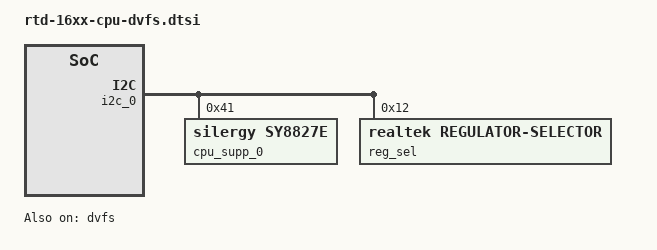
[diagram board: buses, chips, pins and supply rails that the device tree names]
/*
 * RTD-16XX Generic CPU DVFS
 */
#include <dt-bindings/regulator/gmt,g22xx.h>
#include <dt-bindings/regulator/anpec,apw8889.h>
#include <dt-bindings/thermal/thermal.h>

/*
 * Frequnecy overview
 *
 *    CDEV                             CDEV  CDEV  CDEV
 *      ST  FREQUENCY  BOOST  SUSPEND  MAP0  MAP1  MAP2
 *       0       1400    V                          |
 *       1       1300                  -+-         -+-
 *       2       1200            V      |
 *       3       1100                   |
 *       4       1000                   |
 *       5        900                   |
 *       6        800                  -+-
 *       7        700                        -+-
 *       8        600                         |
 *       9        500                         |
 *      10        400                         |
 *      11        300                         |
 */

/* PMIC */
&i2c_0 {
	status = "okay";

	cpu_supp_0: sy8827e: sy8827e@41 {
		compatible = "silergy,sy8827e";
		reg = <0x41>;
		regulator-name = "cpudvs";
		regulator-min-microvolt = <712500>;
		regulator-max-microvolt = <1500000>;
		regulator-ramp-delay = <2000>;
		regulator-boot-on;
		regulator-always-on;
		status = "okay";
	};

	reg_sel: selector@12 {
		compatible = "realtek,regulator-selector";
		reg = <0x12>;
		status = "okay";
		cpu_supp: cpu-selector {
			compatible = "supply-selector";
			g2237-supply = <&cpu_supp_0>;
			apw8889-supply = <&cpu_supp_1>;
		};
		gpu_supp: gpu-selector {
			compatible = "supply-selector";
			g2237-supply = <&gpu_supp_0>;
			apw8889-supply = <&gpu_supp_1>;
		};
	};

	g2237: g2237@12 {
		compatible = "gmt,g2237";
		reg = <0x12>;

		/*** should be disabled ***/
		status = "disabled";

		vd33_supp: dc1 {
			regulator-name = "vd33";
			regulator-min-microvolt = <2200000>;
			regulator-max-microvolt = <3700000>;

			regulator-boot-on;
			regulator-always-on;
			regulator-initial-mode = <G22XX_DC_MODE_AUTO>;
			regulator-state-mem {
				regulator-on-in-suspend;
				regulator-suspend-microvolt = <3200000>;
			};
		};
		gpu_supp_0: dc2 {
			regulator-name = "gpudvs";
			regulator-min-microvolt = <800000>;
			regulator-max-microvolt = <1187500>;

			regulator-boot-on;
			regulator-always-on;
			regulator-initial-mode = <G22XX_DC_MODE_AUTO>;
			regulator-ramp-delay = <625>;
			regulator-state-mem {
				regulator-off-in-suspend;
			};
		};
		dc3 {
			regulator-name = "core";
			regulator-min-microvolt = <800000>;
			regulator-max-microvolt = <1187500>;

			regulator-boot-on;
			regulator-always-on;
			regulator-initial-mode = <G22XX_DC_MODE_AUTO>;
			regulator-state-mem {
				regulator-on-in-suspend;
				regulator-suspend-microvolt = <900000>;
			};
		};
		ddr_supp: dc4 {
			regulator-name = "ddr";
			regulator-min-microvolt = <1200000>;
			regulator-max-microvolt = <1200000>;
			regulator-boot-on;
			regulator-always-on;
			regulator-initial-mode = <G22XX_DC_MODE_AUTO>;

		};
		dc5 {
			regulator-name = "vd18";
			regulator-min-microvolt = <800000>;
			regulator-max-microvolt = <2500000>;

			regulator-boot-on;
			regulator-always-on;
			regulator-initial-mode = <G22XX_DC_MODE_AUTO>;
		};
		ldo1 {
			regulator-name = "vd25";
			regulator-min-microvolt = <2200000>;
			regulator-max-microvolt = <3000000>;

			regulator-boot-on;
			regulator-always-on;
			regulator-initial-mode = <G22XX_LDO_MODE_NORMAL>;
		};
	};

	apw8889: apw8889@12 {
		compatible = "anpec,apw8889";
		reg = <0x12>;

		/*** should be disabled ***/
		status = "disabled";

		dc1 {
			regulator-name = "vd33";
			regulator-min-microvolt = <2200000>;
			regulator-max-microvolt = <3777500>;

			regulator-boot-on;
			regulator-always-on;
			regulator-initial-mode = <APW8889_DC_MODE_AUTO>;
			regulator-state-mem {
				regulator-on-in-suspend;
				regulator-suspend-microvolt = <3200000>;
			};
		};
		dc2 {
			regulator-name = "core";
			regulator-min-microvolt = <550000>;
			regulator-max-microvolt = <1337500>;

			regulator-boot-on;
			regulator-always-on;
			regulator-initial-mode = <APW8889_DC_MODE_AUTO>;
			regulator-state-mem {
				regulator-on-in-suspend;
				regulator-suspend-microvolt = <900000>;
			};
		};
		cpu_supp_1: dc3 {
			regulator-name = "cpudvs";
			regulator-min-microvolt = <550000>;
			regulator-max-microvolt = <1337500>;

			regulator-boot-on;
			regulator-always-on;
			regulator-initial-mode = <APW8889_DC_MODE_AUTO>;
			regulator-ramp-delay = <625>;
			regulator-state-mem {
				regulator-off-in-suspend;
			};
		};
		gpu_supp_1: dc4 {
			regulator-name = "gpudvs";
			regulator-min-microvolt = <550000>;
			regulator-max-microvolt = <1337500>;

			regulator-boot-on;
			regulator-always-on;
			regulator-initial-mode = <APW8889_DC_MODE_AUTO>;
			regulator-ramp-delay = <625>;
			regulator-state-mem {
				regulator-off-in-suspend;
			};
		};
		dc5 {
			regulator-name = "ddr";
			regulator-min-microvolt = <1200000>;
			regulator-max-microvolt = <1200000>;
			regulator-boot-on;
			regulator-always-on;
			regulator-initial-mode = <APW8889_DC_MODE_AUTO>;
		};
		dc6 {
			regulator-name = "vd18";
			regulator-min-microvolt = <800000>;
			regulator-max-microvolt = <2060000>;

			regulator-boot-on;
			regulator-always-on;
			regulator-initial-mode = <APW8889_DC_MODE_AUTO>;
		};
		ldo1 {
			regulator-name = "vd25";
			regulator-min-microvolt = <1870000>;
			regulator-max-microvolt = <4300000>;

			regulator-boot-on;
			regulator-always-on;
			regulator-initial-mode = <APW8889_LDO_MODE_NORMAL>;
		};
	};
};

/* CPU nodes */
&A55_0 {
	clocks = <&cc CC_PLL_SCPU>;
	cpu-supply = <&cpu_supp>;
	operating-points-v2 = <&cpu_opps>;
	cooling-min-level = <0>;
	cooling-max-level = <11>;
	#cooling-cells = <2>;
};

&A55_1 {
	clocks = <&cc CC_PLL_SCPU>;
	cpu-supply = <&cpu_supp>;
	operating-points-v2 = <&cpu_opps>;
	cooling-min-level = <0>;
	cooling-max-level = <11>;
	#cooling-cells = <2>;
};

&A55_2 {
	clocks = <&cc CC_PLL_SCPU>;
	cpu-supply = <&cpu_supp>;
	operating-points-v2 = <&cpu_opps>;
	cooling-min-level = <0>;
	cooling-max-level = <11>;
	#cooling-cells = <2>;
};

&A55_3 {
	clocks = <&cc CC_PLL_SCPU>;
	cpu-supply = <&cpu_supp>;
	operating-points-v2 = <&cpu_opps>;
	cooling-min-level = <0>;
	cooling-max-level = <11>;
	#cooling-cells = <2>;
};

&A55_4 {
	clocks = <&cc CC_PLL_SCPU>;
	cpu-supply = <&cpu_supp>;
	operating-points-v2 = <&cpu_opps>;
	cooling-min-level = <0>;
	cooling-max-level = <11>;
	#cooling-cells = <2>;
};

&A55_5 {
	clocks = <&cc CC_PLL_SCPU>;
	cpu-supply = <&cpu_supp>;
	operating-points-v2 = <&cpu_opps>;
	cooling-min-level = <0>;
	cooling-max-level = <11>;
	#cooling-cells = <2>;
};

/* cpu opp table */
&dvfs {
	hlb-enable;
	hlb-polling-ms = <250>;
	status = "okay";

	cpu_opps: cpu-opp-table {
		compatible = "operating-points-v2";
		opp-shared;
		opp300: opp-300mhz {
			opp-hz = /bits/ 64 <300000000>;
			opp-microvolt = <787500>;
			clock-latency-ns = <150000>;
			status = "okay";
		};
		opp400: opp-400mhz {
			opp-hz = /bits/ 64 <400000000>;
			opp-microvolt = <787500>;
			clock-latency-ns = <150000>;
			status = "okay";
		};
		opp500: opp-500mhz {
			opp-hz = /bits/ 64 <500000000>;
			opp-microvolt = <787500>;
			clock-latency-ns = <150000>;
			status = "okay";
		};
		opp600: opp-600mhz {
			opp-hz = /bits/ 64 <600000000>;
			opp-microvolt = <787500>;
			clock-latency-ns = <150000>;
			status = "okay";
		};
		opp700: opp-700mhz {
			opp-hz = /bits/ 64 <700000000>;
			opp-microvolt = <812500>;
			clock-latency-ns = <150000>;
			status = "okay";
		};
		opp800: opp-800mhz {
			opp-hz = /bits/ 64 <800000000>;
			opp-microvolt = <837500>;
			clock-latency-ns = <150000>;
			status = "okay";
		};
		opp900: opp-900mhz {
			opp-hz = /bits/ 64 <900000000>;
			opp-microvolt = <887500>;
			clock-latency-ns = <150000>;
			status = "okay";
		};
		opp1000: opp-1000mhz {
			opp-hz = /bits/ 64 <1000000000>;
			opp-microvolt = <937500>;
			clock-latency-ns = <150000>;
			status = "okay";
		};
		opp1100: opp-1100mhz {
			opp-hz = /bits/ 64 <1100000000>;
			opp-microvolt = <987500>;
			clock-latency-ns = <150000>;
			status = "okay";
		};
		opp1200: opp-1200mhz {
			opp-hz = /bits/ 64 <1200000000>;
			opp-microvolt = <1025000>;
			clock-latency-ns = <150000>;
			opp-suspend;
			status = "okay";
		};
		opp1300: opp-1300mhz {
			opp-hz = /bits/ 64 <1300000000>;
			opp-microvolt = <1075000>;
			clock-latency-ns = <150000>;
			status = "okay";
		};
		opp1400: opp-1400mhz {
			opp-hz = /bits/ 64 <1400000000>;
			opp-microvolt = <1125000>;
			clock-latency-ns = <150000>;
			status = "okay";
		};
	};
};

&cpu_thermal {
	trips {
		tm_alert0: cpu-alert0 {
			temperature = <105000>;
			hysteresis = <0>;
			type = "passive";
		};
		tm_alert1: cpu-alert1 {
			temperature = <115000>;
			hysteresis = <0>;
			type = "passive";
		};
		tm_alert2: cpu-alert2 {
			temperature = <90000>;
			hysteresis = <0>;
			type = "passive";
		};
	};
	cooling-maps {
		cpu-map0 {
			trip = <&tm_alert0>;
			cooling-device = <&A55_0 1 6>;
			contribution = <70>;
		};
		cpu-map1 {
			trip = <&tm_alert1>;
			cooling-device = <&A55_0 7 THERMAL_NO_LIMIT>;
			contribution = <70>;
		};
		cpu-map2 {
			trip = <&tm_alert2>;
			cooling-device = <&A55_0 THERMAL_NO_LIMIT 1>;
			contribution = <70>;
		};
	};
};
